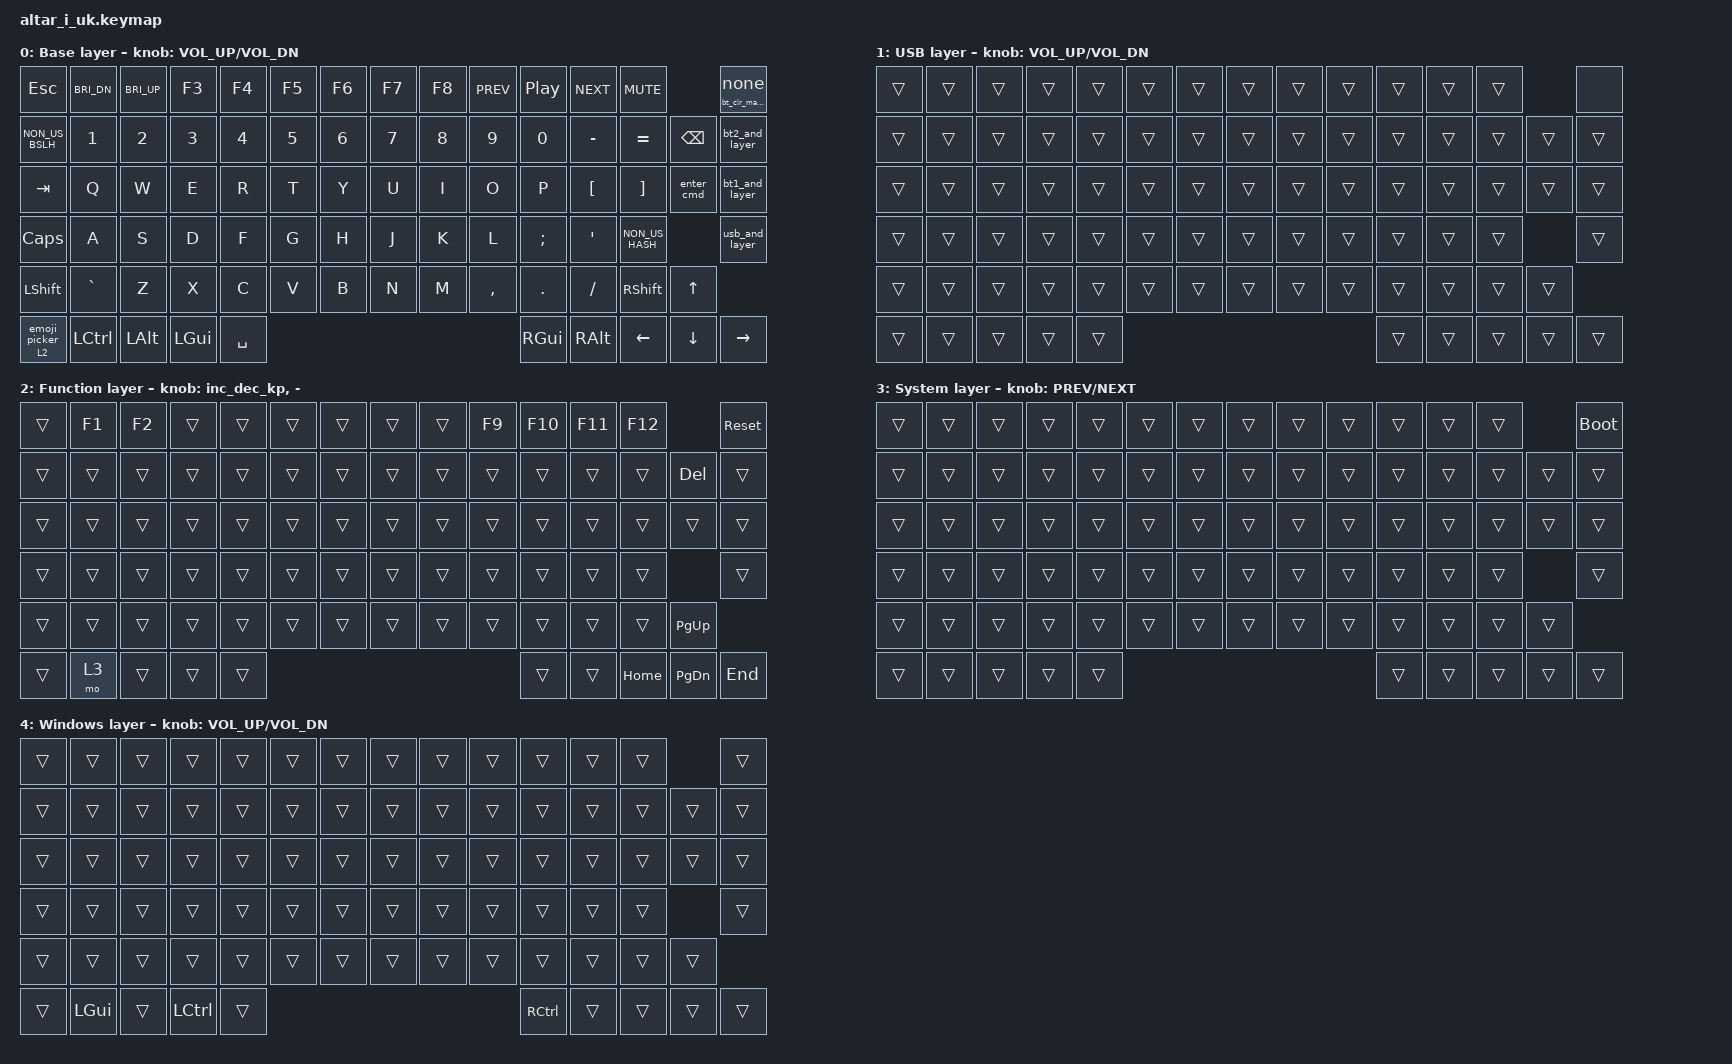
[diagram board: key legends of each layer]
/*
 * Copyright (c) 2025 Electronic Materials Office Limited
 *
 * SPDX-License-Identifier: MIT
 */

#include <behaviors.dtsi>
#include <dt-bindings/zmk/keys.h>
#include <dt-bindings/zmk/bt.h>
#include <dt-bindings/zmk/outputs.h>

/ {
	macros {
		tog_bt0: tog_bt0 {
			compatible = "zmk,behavior-macro";
			#binding-cells = <0>;
			wait-ms = <40>;
			tap-ms = <40>;
			bindings = <&out OUT_BLE &bt BT_SEL 0>;
		};
		tog_bt1: tog_bt1 {
			compatible = "zmk,behavior-macro";
			#binding-cells = <0>;
			wait-ms = <40>;
			tap-ms = <40>;
			bindings = <&out OUT_BLE &bt BT_SEL 1>;
		};
		zoom_in: zoom_in {
			compatible = "zmk,behavior-macro";
			#binding-cells = <0>;
			bindings
			= <&macro_press &kp LSHIFT &kp LGUI>
			, <&macro_tap &kp EQUAL>
			, <&macro_release &kp LSHIFT &kp LGUI>
			;
		};
		bt_clr_macro: bt_clr_macro {
			label = "bt_clr_macro";
			compatible = "zmk,behavior-macro";
			#binding-cells = <0>;
			bindings = <&bt BT_CLR>;
		};
		emoji_picker: emoji_picker {
			compatible = "zmk,behavior-macro";
			#binding-cells = <0>;
			bindings
			= <&macro_press &kp LCTRL &kp LGUI>
			, <&macro_tap &kp SPACE>
			, <&macro_release &kp LCTRL &kp LGUI>
			;
		};
	};
};

/ {
	behaviors {
		ht_bt_clr: hold_tap_bt_clear {
			compatible = "zmk,behavior-hold-tap";
			label = "HOLD_TAP_BT_CLEAR";
			#binding-cells = <2>;
			tapping-term-ms = <2000>;  // Changed to 3000ms (3 seconds)
			quick-tap-ms = <0>;
			flavor = "hold-preferred";  // Changed to hold-preferred
			bindings = <&bt_clr_macro>, <&none>;
		};
		usb_and_layer: usb_and_layer {
			compatible = "zmk,behavior-macro";
			#binding-cells = <0>;
			bindings = <&out OUT_USB &to 1>;
		};
		bt1_and_layer: bt1_and_layer {
			compatible = "zmk,behavior-macro";
			#binding-cells = <0>;
			bindings = <&tog_bt0 &to 0>;
		};
		bt2_and_layer: bt2_and_layer {
			compatible = "zmk,behavior-macro";
			#binding-cells = <0>;
			bindings = <&tog_bt1 &to 0>;
		};
		globe_fn: globe_fn {
			compatible = "zmk,behavior-hold-tap";
			label = "GLOBE_FN";
			#binding-cells = <2>;
			tapping-term-ms = <200>;
			quick-tap-ms = <0>;
			flavor = "tap-preferred";
			bindings = <&mo>, <&emoji_picker>;  // Hold for layer, tap for emoji
		};
		enter_cmd: enter_cmd {
			compatible = "zmk,behavior-mod-morph";
			#binding-cells = <0>;
			bindings = <&kp ENTER>, <&enter_win_toggle>;  // Normal: ENTER, With CMD: check for CTRL
			mods = <(MOD_LGUI|MOD_RGUI)>;
		};
		enter_win_toggle: enter_win_toggle {
			compatible = "zmk,behavior-mod-morph";
			#binding-cells = <0>;
			bindings = <&kp ENTER>, <&tog 4>;  // With just CMD: ENTER, With CMD+CTRL: toggle layer 4
			mods = <(MOD_LCTL|MOD_RCTL)>;
		};
	};
};

/ {
	keymap {
		compatible = "zmk,keymap";

		default_layer {
			display-name = "Base layer";
			// ---------------------------------------------------------------------------------------------------------
			// | ESC   | BRI_DN| BRI_UP| F3    | F4    | F5    | F6    | F7    | F8    | PREV  | P/P   | NEXT  | MUTE  |                       PAIR |
			// | ~     | 1     | 2     | 3     | 4     | 5     | 6     | 7     | 8     | 9     | 0     | -     |  =    | BSPC  |               BT2  |
			// | TAB   | Q     | W     | E     | R     | T     | Y     | U     | I     | O     | P     | [     |  ]    | ENTER |               BT1  |
			// | CAPS  | A     | S     | D     | F     | G     | H     | J     | K     | L     | ;     | '     | NUHS  |       |               USB  |
			// | SHIFT | NUBS  | Z     | X     | C     | V     | B     | N     | M     | ,     | .     | /     | SHFT  | UP    |
			// | FN1   | CTRL  | ALT   | WIN   |                 SPACE                         | WIN   | ALT   | LFT   | DWN   | RGT   |

			bindings = <
			&kp ESC          &kp C_BRI_DN     &kp C_BRI_UP     &kp F3        &kp F4        &kp F5           &kp F6           &kp F7           &kp F8           &kp C_PREV       &kp C_PLAY_PAUSE &kp C_NEXT       &kp C_MUTE                                      &ht_bt_clr 0 0
			&kp NON_US_BSLH  &kp N1           &kp N2           &kp N3        &kp N4        &kp N5           &kp N6           &kp N7           &kp N8           &kp N9           &kp N0           &kp MINUS        &kp EQUAL        &kp BSPC                       &bt2_and_layer
			&kp TAB          &kp Q            &kp W            &kp E         &kp R         &kp T            &kp Y            &kp U            &kp I            &kp O            &kp P            &kp LBKT         &kp RBKT         &enter_cmd                     &bt1_and_layer
			&kp CAPS         &kp A            &kp S            &kp D         &kp F         &kp G            &kp H            &kp J            &kp K            &kp L            &kp SEMI         &kp SQT          &kp NON_US_HASH                                 &usb_and_layer
			&kp LSHIFT       &kp GRAVE        &kp Z            &kp X         &kp C         &kp V            &kp B            &kp N            &kp M            &kp COMMA        &kp  DOT         &kp FSLH         &kp RSHIFT       &kp UP
			&globe_fn 2 0    &kp LCTRL        &kp LALT         &kp LGUI                                     &kp SPACE                                                           &kp  RGUI        &kp RALT         &kp LEFT         &kp DOWN         &kp RIGHT
			>;

			sensor-bindings = <&inc_dec_kp C_VOL_UP C_VOL_DN>;
		};

		usb_layer {
			display-name = "USB layer";
			// ---------------------------------------------------------------------------------------------------------
			// |       |       |       |       |       |       |       |       |       |       |       |       |       |                      NONE  |
			// |       |       |       |       |       |       |       |       |       |       |       |       |       |       |                    |
			// |       |       |       |       |       |       |       |       |       |       |       |       |       |       |                    |
			// |       |       |       |       |       |       |       |       |       |       |       |       |       |       |                    |
			// |       |       |       |       |       |       |       |       |       |       |       |       |       |       |
			// |       |       |       |       |                                               |       |       |       |       |       |

			bindings = <
			&trans           &trans           &trans           &trans        &trans        &trans           &trans           &trans           &trans           &trans           &trans           &trans           &trans                                          &none
			&trans           &trans           &trans           &trans        &trans        &trans           &trans           &trans           &trans           &trans           &trans           &trans           &trans           &trans                         &trans
			&trans           &trans           &trans           &trans        &trans        &trans           &trans           &trans           &trans           &trans           &trans           &trans           &trans           &trans                         &trans
			&trans           &trans           &trans           &trans        &trans        &trans           &trans           &trans           &trans           &trans           &trans           &trans           &trans                                          &trans
			&trans           &trans           &trans           &trans        &trans        &trans           &trans           &trans           &trans           &trans           &trans           &trans           &trans           &trans
			&trans           &trans           &trans           &trans                                       &trans                                                              &trans           &trans           &trans           &trans           &trans
			>;

			sensor-bindings = <&inc_dec_kp C_VOL_UP C_VOL_DN>;
		};

		fn_layer {
			display-name = "Function layer";
			// ---------------------------------------------------------------------------------------------------------
			// |       | F1    | F2    |       |       |       |       |       |       | F9    | F10   | F11   |  F12  |                            |
			// |       |       |       |       |       |       |       |       |       |       |       |       |       |       |                    |
			// |       |       |       |       |       |       |       |       |       |       |       |       |       |       |                    |
			// |       |       |       |       |       |       |       |       |       |       |       |       |       |       |              RESET |
			// |       |       |       |       |       |       |       |       |       |       |       |       |       |       |
			// |       | FN2   |       |       |                                               |       |       |       |       |       |

			bindings = <
			&trans           &kp F1           &kp F2           &trans        &trans        &trans           &trans           &trans           &trans           &kp F9           &kp F10          &kp F11          &kp F12                                         &sys_reset
			&trans           &trans           &trans           &trans        &trans        &trans           &trans           &trans           &trans           &trans           &trans           &trans           &trans           &kp DEL                        &trans
			&trans           &trans           &trans           &trans        &trans        &trans           &trans           &trans           &trans           &trans           &trans           &trans           &trans           &trans                         &trans
			&trans           &trans           &trans           &trans        &trans        &trans           &trans           &trans           &trans           &trans           &trans           &trans           &trans                                          &trans
			&trans           &trans           &trans           &trans        &trans        &trans           &trans           &trans           &trans           &trans           &trans           &trans           &trans           &kp PAGE_UP
			&trans           &mo 3            &trans           &trans                                       &trans                                                              &trans           &trans           &kp HOME         &kp PAGE_DOWN      &kp END
			>;

			sensor-bindings = <&inc_dec_kp &zoom_in MINUS>;
		};

		sys_layer {
			display-name = "System layer";
			// ---------------------------------------------------------------------------------------------------------
			// |       |       |       |       |       |       |       |       |       |       |       |       |       |                            |
			// |       |       |       |       |       |       |       |       |       |       |       |       |       |       |                    |
			// |       |       |       |       |       |       |       |       |       |       |       |       |       |       |                    |
			// |       |       |       |       |       |       |       |       |       |       |       |       |       |       |         BOOTLOADER |
			// |       |       |       |       |       |       |       |       |       |       |       |       |       |       |
			// |       |       |       |       |                                               |       |       |       |       |       |

			bindings = <
			&trans           &trans           &trans           &trans        &trans        &trans           &trans           &trans           &trans           &trans           &trans           &trans           &trans                                          &bootloader
			&trans           &trans           &trans           &trans        &trans        &trans           &trans           &trans           &trans           &trans           &trans           &trans           &trans           &trans                         &trans
			&trans           &trans           &trans           &trans        &trans        &trans           &trans           &trans           &trans           &trans           &trans           &trans           &trans           &trans                         &trans
			&trans           &trans           &trans           &trans        &trans        &trans           &trans           &trans           &trans           &trans           &trans           &trans           &trans                                          &trans
			&trans           &trans           &trans           &trans        &trans        &trans           &trans           &trans           &trans           &trans           &trans           &trans           &trans           &trans
			&trans           &trans           &trans           &trans                                       &trans                                                              &trans           &trans           &trans           &trans           &trans
			>;

			sensor-bindings = <&inc_dec_kp C_PREV C_NEXT>;
		};

		windows_layer {
			display-name = "Windows layer";
			// ---------------------------------------------------------------------------------------------------------
			// |       |       |       |       |       |       |       |       |       |       |       |       |       |                            |
			// |       |       |       |       |       |       |       |       |       |       |       |       |       |       |                    |
			// |       |       |       |       |       |       |       |       |       |       |       |       |       |       |                    |
			// |       |       |       |       |       |       |       |       |       |       |       |       |       |       |                    |
			// |       |       |       |       |       |       |       |       |       |       |       |       |       |       |
			// |       |       |       |       |                                               |       |       |       |       |       |

			bindings = <
			&trans           &trans           &trans           &trans        &trans        &trans           &trans           &trans           &trans           &trans           &trans           &trans           &trans                                          &trans
			&trans           &trans           &trans           &trans        &trans        &trans           &trans           &trans           &trans           &trans           &trans           &trans           &trans           &trans                         &trans
			&trans           &trans           &trans           &trans        &trans        &trans           &trans           &trans           &trans           &trans           &trans           &trans           &trans           &trans                         &trans
			&trans           &trans           &trans           &trans        &trans        &trans           &trans           &trans           &trans           &trans           &trans           &trans           &trans                                          &trans
			&trans           &trans           &trans           &trans        &trans        &trans           &trans           &trans           &trans           &trans           &trans           &trans           &trans           &trans
			&trans           &kp LGUI         &trans           &kp LCTRL                                    &trans                                                              &kp RCTRL        &trans           &trans           &trans           &trans
			>;

			sensor-bindings = <&inc_dec_kp C_VOL_UP C_VOL_DN>;
		};
	};
};
